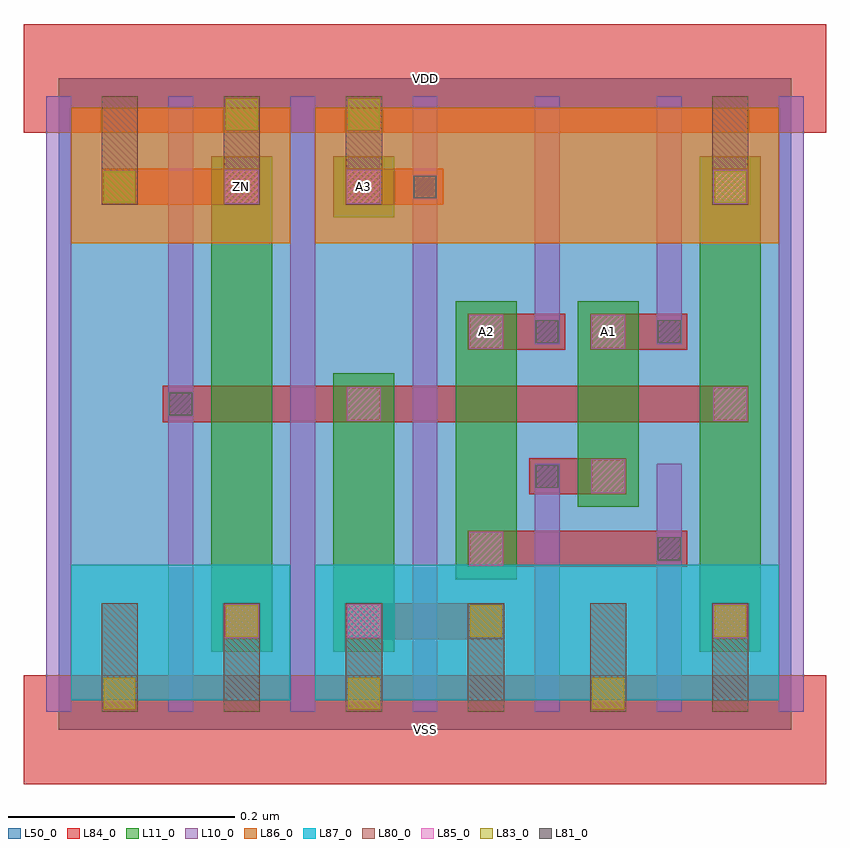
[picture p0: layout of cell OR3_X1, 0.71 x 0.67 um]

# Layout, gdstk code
import gdstk
lib = gdstk.Library(unit=1e-6, precision=1e-09)
def R(c, l, rs):  # rectangles x0, y0, x1, y1
    for r in rs: c.add(gdstk.rectangle(r[:2], r[2:], *l))
def A(c, l, x, y, w, h, nx, ny, dx, dy):  # array of equal rectangles
    R(c, l, [(x+i*dx, y+j*dy, x+i*dx+w, y+j*dy+h) for i in range(nx) for j in range(ny)])
L10_0 = (10, 0)
L11_0 = (11, 0)
L50_0 = (50, 0)
L80_0 = (80, 0)
L81_0 = (81, 0)
L83_0 = (83, 0)
L84_0 = (84, 0)
L85_0 = (85, 0)
L86_0 = (86, 0)
L87_0 = (87, 0)

or3_x1 = lib.new_cell('OR3_X1')
A(or3_x1, L10_0, -0.011, 0.016, 0.022, 0.544, 4, 1, 0.108, 0)
R(or3_x1, L10_0, [(0.421,0.016,0.443,0.235), (0.529,0.016,0.551,0.235), (0.637,0.016,0.659,0.56), (0.421,0.341,0.443,0.56), (0.529,0.341,0.551,0.56)])
R(or3_x1, L11_0, [(0.135,0.069,0.189,0.507), (0.243,0.069,0.297,0.315), (0.567,0.069,0.621,0.507), (0.351,0.133,0.405,0.379), (0.459,0.197,0.513,0.379), (0.243,0.453,0.297,0.507)])
R(or3_x1, L50_0, [(0,0,0.648,0.576)])
A(or3_x1, L80_0, 0.038, 0.016, 0.032, 0.096, 6, 1, 0.108, 0)
A(or3_x1, L80_0, 0.038, 0.464, 0.032, 0.096, 3, 1, 0.108, 0)
R(or3_x1, L80_0, [(0.578,0.464,0.61,0.56)])
R(or3_x1, L81_0, [(0.53,0.15,0.55,0.17), (0.422,0.214,0.442,0.234), (0.098,0.278,0.118,0.298), (0.422,0.342,0.442,0.362), (0.53,0.342,0.55,0.362), (0.314,0.47,0.334,0.49)])
A(or3_x1, L83_0, 0.04, 0.018, 0.028, 0.028, 3, 1, 0.216, 0)
A(or3_x1, L83_0, 0.148, 0.082, 0.028, 0.028, 3, 1, 0.216, 0)
R(or3_x1, L83_0, [(0.04,0.466,0.068,0.494), (0.58,0.466,0.608,0.494), (0.148,0.53,0.176,0.558), (0.256,0.53,0.284,0.558)])
R(or3_x1, L84_0, [(-0.031,-0.048,0.679,0.048), (0.146,0.08,0.178,0.112), (0.254,0.08,0.394,0.112), (0.578,0.08,0.61,0.112), (0.362,0.144,0.556,0.176), (0.416,0.208,0.502,0.24), (0.092,0.272,0.61,0.304), (0.362,0.336,0.448,0.368), (0.47,0.336,0.556,0.368), (0.038,0.464,0.178,0.496), (0.254,0.464,0.34,0.496), (0.578,0.464,0.61,0.496), (-0.031,0.528,0.679,0.624)])
A(or3_x1, L85_0, 0.255, 0.081, 0.03, 0.03, 1, 3, 0, 0.192)
A(or3_x1, L85_0, 0.579, 0.081, 0.03, 0.03, 1, 3, 0, 0.192)
R(or3_x1, L85_0, [(0.147,0.081,0.177,0.111), (0.363,0.145,0.393,0.175), (0.471,0.209,0.501,0.239), (0.363,0.337,0.393,0.367), (0.471,0.337,0.501,0.367), (0.147,0.465,0.177,0.495)])
R(or3_x1, L86_0, [(0.011,0.43,0.205,0.55), (0.227,0.43,0.637,0.55)])
R(or3_x1, L87_0, [(0.011,0.026,0.205,0.146), (0.227,0.026,0.637,0.146)])
or3_x1.add(gdstk.Label('VDD', (0.324,0.576), layer=88, texttype=0))
or3_x1.add(gdstk.Label('VSS', (0.324,0), layer=88, texttype=0))
or3_x1.add(gdstk.Label('ZN', (0.162,0.48), layer=31, texttype=0))
or3_x1.add(gdstk.Label('A1', (0.486,0.352), layer=31, texttype=0))
or3_x1.add(gdstk.Label('A2', (0.378,0.352), layer=31, texttype=0))
or3_x1.add(gdstk.Label('A3', (0.27,0.48), layer=31, texttype=0))

lib.write_gds('OR3_X1.gds')
